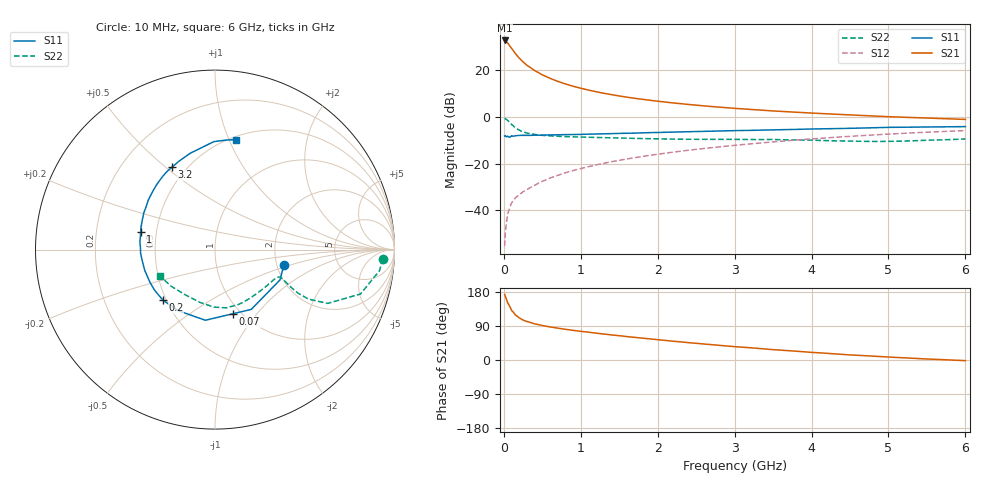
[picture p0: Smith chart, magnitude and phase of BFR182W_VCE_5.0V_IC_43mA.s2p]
! Infineon Technologies  Discrete & RF Semiconductors
! BFR182W
! VCE =  5.0 V,  IC =  43 mA
! Common Emitter S-Parameters:  Jan 2017
# GHz  S  MA  R  50
!  f  S11  S21  S12  S22
! GHz  MAG  ANG  MAG  ANG  MAG  ANG  MAG  ANG
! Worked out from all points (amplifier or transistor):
!   77 points, 10 MHz to 6 GHz, reference 50 ohm
!   highest |S21| = 32.9 dB at 10 MHz (marker M1)
!   |S21| within 3 dB of that: start of sweep to 91.29 MHz
!   unconditionally stable (mu >= 1): 399.1 MHz to 2.256 GHz
!   at 130 MHz: K = 0.60, MSG = 31.8 dB, |S12| = -35.5 dB
!   at 2.2 GHz: K = 1.01, MAG = 10.1 dB, |S12| = -15.1 dB
!   at 6 GHz: K = 0.88, MSG = 2.4 dB, |S12| = -5.8 dB
!   S11 on the Smith chart (normalised r, x): 10 MHz: 2.18, -0.45; 70 MHz: 0.92, -0.76; 200 MHz: 0.48, -0.32; 1 GHz: 0.41, +0.10; 3.2 GHz: 0.42, +0.53; 6 GHz: 0.53, +1.06
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0.01  0.3931 -12.7  44 173.4  0.0017 70.6  0.9357 -3.1
0.02  0.3997 -25.0  43.72 167.5  0.0034 88.5  0.9242 -7.3
0.05  0.3896 -58.8  38.91 150.7  0.0082 69.6  0.8473 -17.0
0.07  0.371 -74.4  34.83 144.1  0.0106 67.5  0.7848 -20.0
0.1  0.3973 -97.8  29.88 131.0  0.0142 65.7  0.696 -25.5
0.15  0.3975 -121.2  23.02 119.0  0.0185 63.4  0.5883 -27.9
0.2  0.4042 -135.8  18.4 111.2  0.0215 64.0  0.5233 -27.7
0.25  0.4057 -146.1  15.24 105.5  0.025 65.2  0.4823 -26.7
0.3  0.4055 -153.3  12.92 101.5  0.0279 66.0  0.454 -25.6
0.4  0.4083 -163.7  9.951 95.4  0.0343 69.2  0.4236 -24.1
0.5  0.41 -171.1  8.048 91.0  0.0417 71.4  0.4053 -23.3
0.6  0.4149 -177.1  6.776 87.3  0.0491 72.2  0.3949 -23.0
0.7  0.4158 178.4  5.839 84.1  0.0561 74.0  0.3874 -23.2
1  0.4252 166.8  4.155 75.7  0.0785 75.0  0.3724 -25.7
1.1  0.4301 163.6  3.794 73.3  0.0863 74.9  0.3691 -26.9
1.5  0.4464 152.7  2.835 64.1  0.118 74.1  0.355 -32.9
2.1  0.4713 138.6  2.097 51.7  0.1679 71.0  0.3386 -45.4
3.1  0.5148 119.3  1.499 33.8  0.2563 63.1  0.331 -69.7
3.2  0.5182 117.5  1.461 32.3  0.2654 62.2  0.3301 -72.0
4.1  0.5579 102.8  1.197 18.9  0.3491 53.5  0.3158 -94.0
5.1  0.6033 89.4  1.005 6.8  0.4396 42.6  0.3027 -126.9
6  0.6241 79.0  0.89 -1.7  0.5135 32.3  0.3395 -154.1
